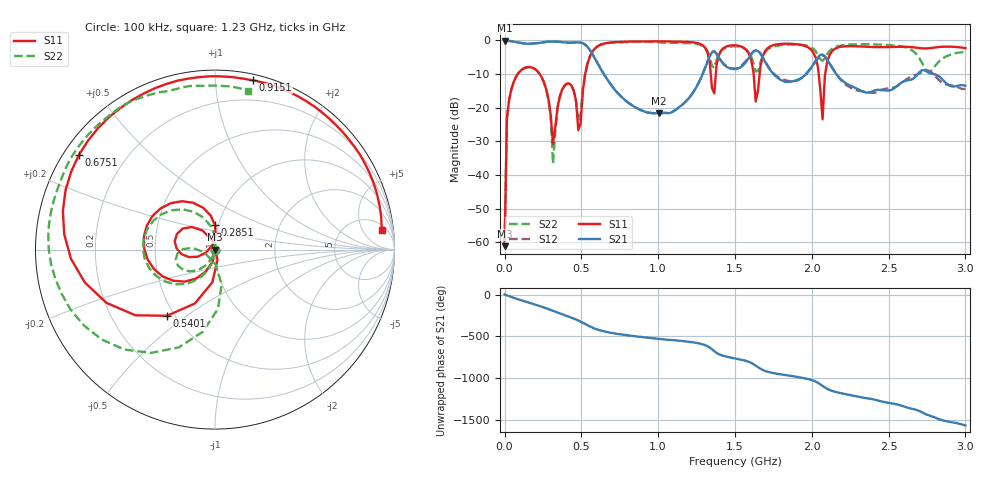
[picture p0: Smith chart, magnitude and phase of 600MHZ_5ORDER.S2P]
!Agilent Technologies,E5071C,MY46101915,A.08.10
!Date: Mon Jan 01 00:37:22 2001
!Data & Calibration Information:
!Freq	S11:SOLT2(ON)	S21:SOLT2(ON)	S12:SOLT2(ON)	S22:SOLT2(ON)
# Hz S dB R 50
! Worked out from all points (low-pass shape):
!   201 points, 100 kHz to 3 GHz, reference 50 ohm
!   highest |S21| = -0.01 dB at 100 kHz (marker M1); lowest = -21.6 dB at 1.005 GHz (marker M2)
!   |S21| within 3 dB of the highest: start of sweep to 557.8 MHz; 1.632 GHz to 1.642 GHz (9.801 MHz wide, 0.599 % of centre)
!   lowest |S11| = -61.1 dB at 100 kHz (marker M3), VSWR 1.00, Z = 50.1 - j0.0215 ohm
!   |S11| at or under -10 dB: start of sweep to 85.63 MHz; 228.9 MHz to 524.8 MHz (295.8 MHz wide, 78.5 % of centre); 2.045 GHz to 2.087 GHz (42.21 MHz wide, 2.04 % of centre)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
!   |S22| runs from -59.6 to -0.4 dB; largest |S21 - S12| = 0.04
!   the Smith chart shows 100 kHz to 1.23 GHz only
!   S11 on the Smith chart (normalised r, x): 100 kHz: 1.00, -0.00; 285.1 MHz: 0.96, +0.27; 540.1 MHz: 0.46, -0.42; 675.1 MHz: 0.04, +0.31; 915.1 MHz: 0.04, +1.25; 1.23 GHz: 7, +13
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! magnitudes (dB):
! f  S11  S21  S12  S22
! 100 kHz  -61.1  0.0  0.0  -59.6
! 15.1 MHz  -23.2  -0.1  0.0  -23.2
! 45.1 MHz  -14.3  -0.2  -0.2  -14.3
! 285.1 MHz  -17.3  -0.4  -0.3  -17.4
! 315.1 MHz  -30.7  -0.3  -0.3  -36.6
! 375.1 MHz  -14.5  -0.5  -0.5  -14.7
! 480.1 MHz  -26.6  -0.6  -0.5  -24.1
! 510.1 MHz  -14.8  -0.9  -0.8  -14.1
! 540.1 MHz  -6.8  -1.9  -1.9  -6.7
! 675.1 MHz  -0.7  -12.0  -12.0  -0.8
! 915.1 MHz  -0.3  -21.2  -21.2  -0.4
! 1.005 GHz  -0.3  -21.6  -21.7  -0.6
! 1.23 GHz  -0.6  -15.3  -15.2  -0.9
! 1.365 GHz  -15.7  -3.3  -3.2  -8.1
! 1.5 GHz  -1.4  -8.5  -8.3  -1.7
! 1.635 GHz  -18.1  -2.9  -2.9  -9.2
! 1.71 GHz  -2.4  -7.4  -7.3  -2.7
! 2.01 GHz  -3.6  -7.1  -7.2  -2.5
! 2.07 GHz  -23.4  -4.2  -4.4  -6.1
! 2.13 GHz  -3.3  -8.0  -7.9  -2.5
! 2.505 GHz  -1.9  -14.9  -14.2  -1.4
! 3 GHz  -2.3  -13.5  -14.4  -3.4
